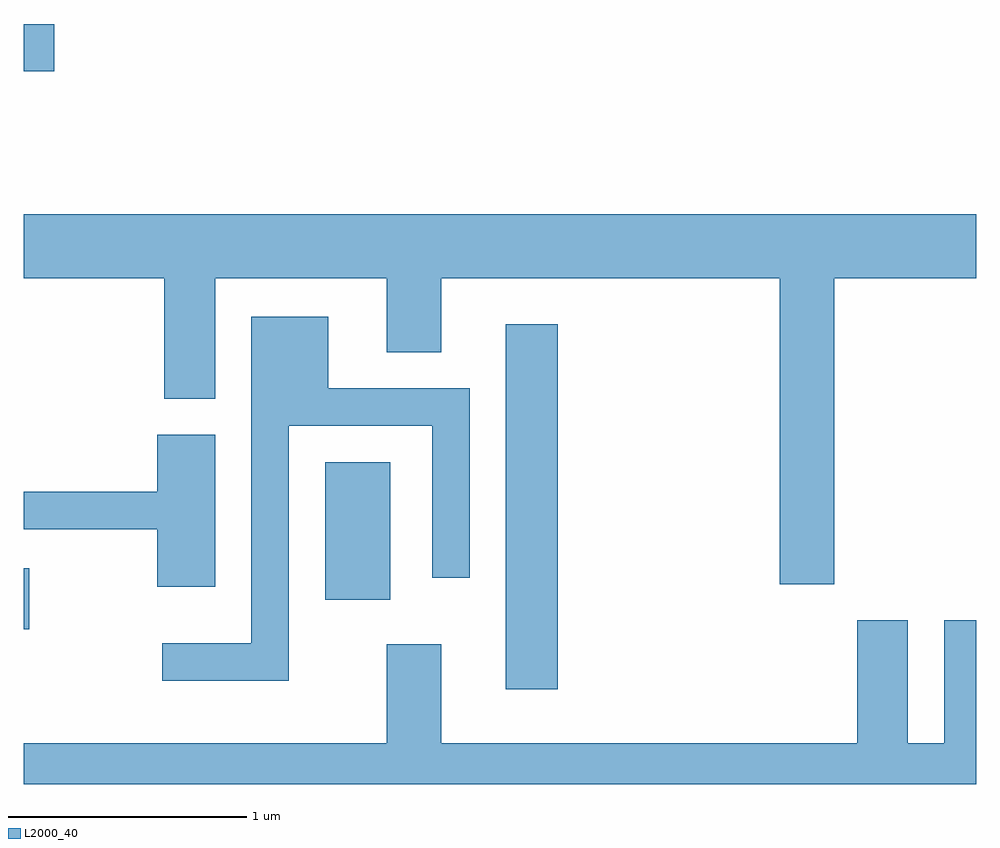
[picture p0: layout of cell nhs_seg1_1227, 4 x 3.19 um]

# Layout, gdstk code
import gdstk
lib = gdstk.Library(unit=1e-6, precision=1e-09)
def R(c, l, rs):  # rectangles x0, y0, x1, y1
    for r in rs: c.add(gdstk.rectangle(r[:2], r[2:], *l))
def P(c, l, *ps):  # polygons
    for p in ps: c.add(gdstk.Polygon(p, *l))
L2000_40 = (2000, 40)

nhs_seg1_1227 = lib.new_cell('nhs_seg1_1227')
R(nhs_seg1_1227, L2000_40, [(225.636,860.111,225.854,861.644), (223.611,860.361,223.634,860.619), (224.876,860.486,225.149,861.064), (223.611,862.706,223.739,862.904)])
P(nhs_seg1_1227, L2000_40, [(227.014,861.836),(227.611,861.836),(227.611,862.104),(223.611,862.104),(223.611,861.836),(224.201,861.836),(224.201,861.331),(224.414,861.331),(224.414,861.836),(225.136,861.836),(225.136,861.526),(225.364,861.526),(225.364,861.836),(226.786,861.836),(226.786,860.551),(227.014,860.551)],
  [(224.724,861.216),(225.326,861.216),(225.326,860.578),(225.484,860.578),(225.484,861.374),(224.889,861.374),(224.889,861.674),(224.566,861.674),(224.566,860.304),(224.193,860.304),(224.193,860.146),(224.724,860.146)],
  [(224.414,861.179),(224.171,861.179),(224.171,860.939),(223.611,860.939),(223.611,860.781),(224.171,860.781),(224.171,860.541),(224.414,860.541)],
  [(227.611,860.399),(227.476,860.399),(227.476,859.884),(227.324,859.884),(227.324,860.399),(227.111,860.399),(227.111,859.884),(225.364,859.884),(225.364,860.299),(225.136,860.299),(225.136,859.884),(223.611,859.884),(223.611,859.712),(227.611,859.712)])

lib.write_gds('nhs_seg1_1227.gds')
